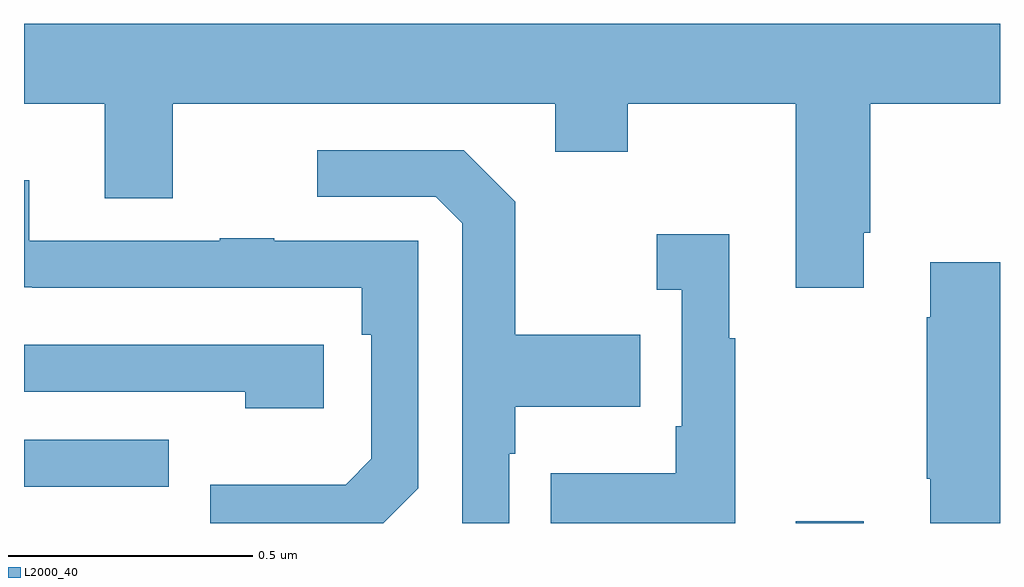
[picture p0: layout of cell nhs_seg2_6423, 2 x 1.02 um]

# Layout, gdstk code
import gdstk
lib = gdstk.Library(unit=1e-6, precision=1e-09)
def R(c, l, rs):  # rectangles x0, y0, x1, y1
    for r in rs: c.add(gdstk.rectangle(r[:2], r[2:], *l))
def P(c, l, *ps):  # polygons
    for p in ps: c.add(gdstk.Polygon(p, *l))
L2000_40 = (2000, 40)

nhs_seg2_6423 = lib.new_cell('nhs_seg2_6423')
R(nhs_seg2_6423, L2000_40, [(192.581,622.8,192.721,622.804), (191,622.875,191.297,622.971)])
P(nhs_seg2_6423, L2000_40, [(191,623.66),(191.165,623.66),(191.165,623.466),(191.305,623.466),(191.305,623.66),(192.089,623.66),(192.089,623.561),(192.237,623.561),(192.237,623.66),(192.581,623.66),(192.581,623.283),(192.721,623.283),(192.721,623.395),(192.734,623.395),(192.734,623.66),(193,623.66),(193,623.824),(191,623.824)],
  [(191.994,622.943),(192.007,622.943),(192.007,623.039),(192.263,623.039),(192.263,623.187),(192.007,623.187),(192.007,623.459),(191.901,623.565),(191.601,623.565),(191.601,623.469),(191.844,623.469),(191.898,623.415),(191.898,622.8),(191.994,622.8)],
  [(191.808,622.872),(191.808,623.379),(191.513,623.379),(191.513,623.384),(191.401,623.384),(191.401,623.379),(191.011,623.379),(191.011,623.503),(191,623.503),(191,623.284),(191.017,623.284),(191.017,623.283),(191.692,623.283),(191.692,623.186),(191.712,623.186),(191.712,622.932),(191.659,622.879),(191.382,622.879),(191.382,622.8),(191.736,622.8)],
  [(192.457,623.179),(192.445,623.179),(192.445,623.392),(192.297,623.392),(192.297,623.279),(192.348,623.279),(192.348,622.999),(192.336,622.999),(192.336,622.903),(192.079,622.903),(192.079,622.8),(192.457,622.8)],
  [(193,623.335),(192.857,623.335),(192.857,623.222),(192.85,623.222),(192.85,622.891),(192.857,622.891),(192.857,622.8),(193,622.8)],
  [(191.614,623.166),(191,623.166),(191,623.07),(191.453,623.07),(191.453,623.036),(191.614,623.036)])

lib.write_gds('nhs_seg2_6423.gds')
